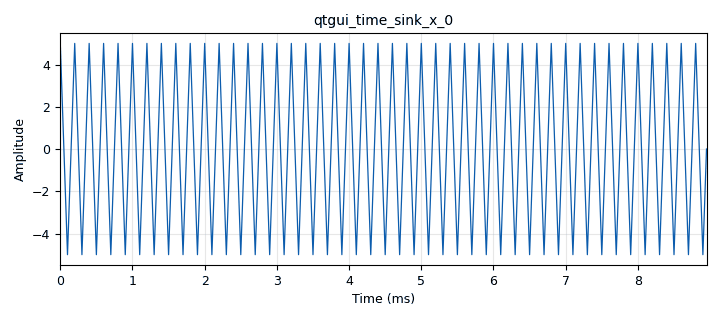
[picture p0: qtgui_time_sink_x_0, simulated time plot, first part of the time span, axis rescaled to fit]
options:
  parameters:
    generate_options: qt_gui
    id: actividad_3
    output_language: python
    title: Not titled yet
  states: {}

blocks:
- name: fs
  id: variable_qtgui_range
  parameters:
    start: '2000'
    step: '1000'
    stop: '20000'
    value: '20000'
  states: {}
- name: samp_rate
  id: variable
  parameters:
    value: '20000'
  states: {}
- name: analog_sig_source_x_0
  id: analog_sig_source_x
  parameters:
    amp: '5'
    freq: '5000'
    offset: '0'
    phase: '0'
    samp_rate: fs
    type: float
    waveform: analog.GR_COS_WAVE
  states: {}
- name: blocks_throttle2_0
  id: blocks_throttle2
  parameters:
    samples_per_second: fs
    type: float
  states: {}
- name: qtgui_time_sink_x_0
  id: qtgui_time_sink_x
  parameters:
    size: '1024'
    srate: fs
    type: float
  states: {}

connections:
- [analog_sig_source_x_0, '0', blocks_throttle2_0, '0']
- [blocks_throttle2_0, '0', qtgui_time_sink_x_0, '0']

metadata:
  file_format: 1
  grc_version: 3.10.7.0
